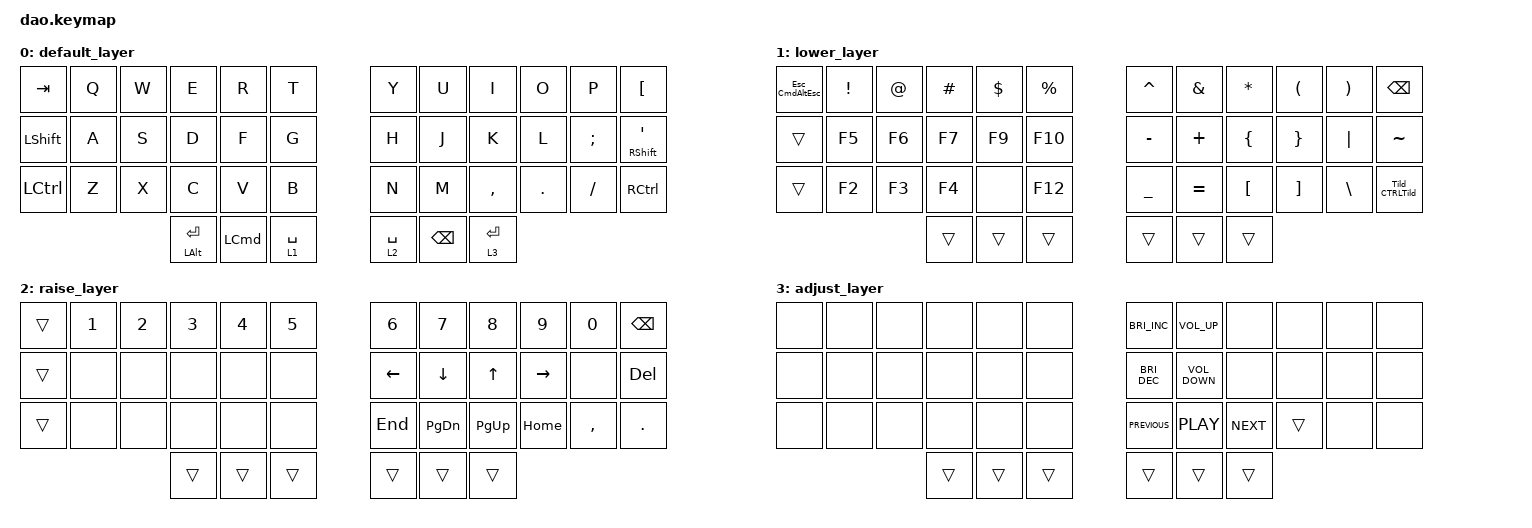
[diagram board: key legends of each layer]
/*
 * Copyright (c) 2021 Rafael Yumagulov
 *
 * SPDX-License-Identifier: MIT
 */

#include <behaviors.dtsi>
#include <dt-bindings/zmk/keys.h>

#define DEF 0
#define LWR 1
#define RSE 2
#define ADJ 3

&lt {
    quick_tap_ms = <200>;
    tapping-term-ms = <150>;
};

&mt {
    quick_tap_ms = <200>;
    tapping-term-ms = <150>;
};

/ {
    chosen {
        zmk,matrix_transform = &default_transform;

        // zmk,matrix_transform = &extra_keys_transform;
    };
};

/ {
    behaviors {
        M_RightBracket: M_RightBracket {
            compatible = "zmk,behavior-tap-dance";
            label = "M_RIGHTBRACKET";
            #binding-cells = <0>;
            bindings = <&kp M>, <&kp RIGHT_BRACKET>;
        };

        CMD_switchLang: CMD_switchLang {
            compatible = "zmk,behavior-tap-dance";
            label = "CMD_SWITCHLANG";
            #binding-cells = <0>;
            bindings = <&kp LGUI>, <&kp LG(SPACE)>;
        };

        Tild_CTRLTild: Tild_CTRLTild {
            compatible = "zmk,behavior-tap-dance";
            label = "TILD_CTRLTILD";
            #binding-cells = <0>;
            bindings = <&kp TILDE>, <&kp LC(TILDE)>;
        };

        Esc_CmdAltEsc: Esc_CmdAltEsc {
            compatible = "zmk,behavior-tap-dance";
            label = "ESC_CMDALTESC";
            #binding-cells = <0>;
            bindings = <&kp ESC>, <&EscMacro>;
        };
    };

    macros {
        EscMacro: EscMacro {
            compatible = "zmk,behavior-macro";
            #binding-cells = <0>;
            bindings =
                <&macro_press>,
                <&kp LGUI &kp LALT>,
                <&macro_tap>,
                <&kp ESC>,
                <&macro_release>,
                <&kp LGUI &kp LALT>;

            label = "ESCMACRO";
        };
    };

    combos {
        compatible = "zmk,combos";

        EscComboRight {
            bindings = <&kp ESC>;
            key-positions = <19 20>;
        };

        EscComboLeft {
            bindings = <&kp ESC>;
            key-positions = <15 16>;
        };
    };

    keymap {
        compatible = "zmk,keymap";

        default_layer {
            bindings = <
&kp TAB    &kp Q  &kp W  &kp E           &kp R             &kp T        &kp Y        &kp U          &kp I        &kp O    &kp P     &kp LBKT
&kp LSHFT  &kp A  &kp S  &kp D           &kp F             &kp G        &kp H        &kp J          &kp K        &kp L    &kp SEMI  &mt RIGHT_SHIFT SINGLE_QUOTE
&kp LCTRL  &kp Z  &kp X  &kp C           &kp V             &kp B        &kp N        &kp M          &kp COMMA    &kp DOT  &kp FSLH  &kp RIGHT_CONTROL
                         &mt LALT ENTER  &kp LEFT_COMMAND  &lt 1 SPACE  &lt 2 SPACE  &kp BACKSPACE  &lt 3 ENTER
            >;
        };

        lower_layer {
            bindings = <
&Esc_CmdAltEsc  &kp EXCLAMATION  &kp AT_SIGN  &kp HASH  &kp DOLLAR  &kp PERCENT  &kp CARET       &kp AMPERSAND  &kp ASTERISK    &kp LEFT_PARENTHESIS  &kp RIGHT_PARENTHESIS  &kp BSPC
&trans          &kp F5           &kp F6       &kp F7    &kp F9      &kp F10      &kp MINUS       &kp PLUS       &kp LEFT_BRACE  &kp RIGHT_BRACE       &kp PIPE               &kp TILDE
&trans          &kp F2           &kp F3       &kp F4    &none       &kp F12      &kp UNDERSCORE  &kp EQUAL      &kp LBKT        &kp RBKT              &kp BSLH               &Tild_CTRLTild
                                              &trans    &trans      &trans       &trans          &trans         &trans
            >;
        };

        raise_layer {
            bindings = <
&trans  &kp N1  &kp N2  &kp N3  &kp N4  &kp N5  &kp N6    &kp N7     &kp N8     &kp N9     &kp N0     &kp BSPC
&trans  &none   &none   &none   &none   &none   &kp LEFT  &kp DOWN   &kp UP     &kp RIGHT  &none      &kp DELETE
&trans  &none   &none   &none   &none   &none   &kp END   &kp PG_DN  &kp PG_UP  &kp HOME   &kp COMMA  &kp DOT
                        &trans  &trans  &trans  &trans    &trans     &trans
            >;
        };

        adjust_layer {
            bindings = <
&none  &none  &none  &none   &none   &none   &kp C_BRIGHTNESS_INC  &kp C_VOLUME_UP    &none       &none   &none  &none
&none  &none  &none  &none   &none   &none   &kp C_BRIGHTNESS_DEC  &kp C_VOLUME_DOWN  &none       &none   &none  &none
&none  &none  &none  &none   &none   &none   &kp C_PREVIOUS        &kp C_PLAY         &kp C_NEXT  &trans  &none  &none
                     &trans  &trans  &trans  &trans                &trans             &trans
            >;
        };
    };
};
